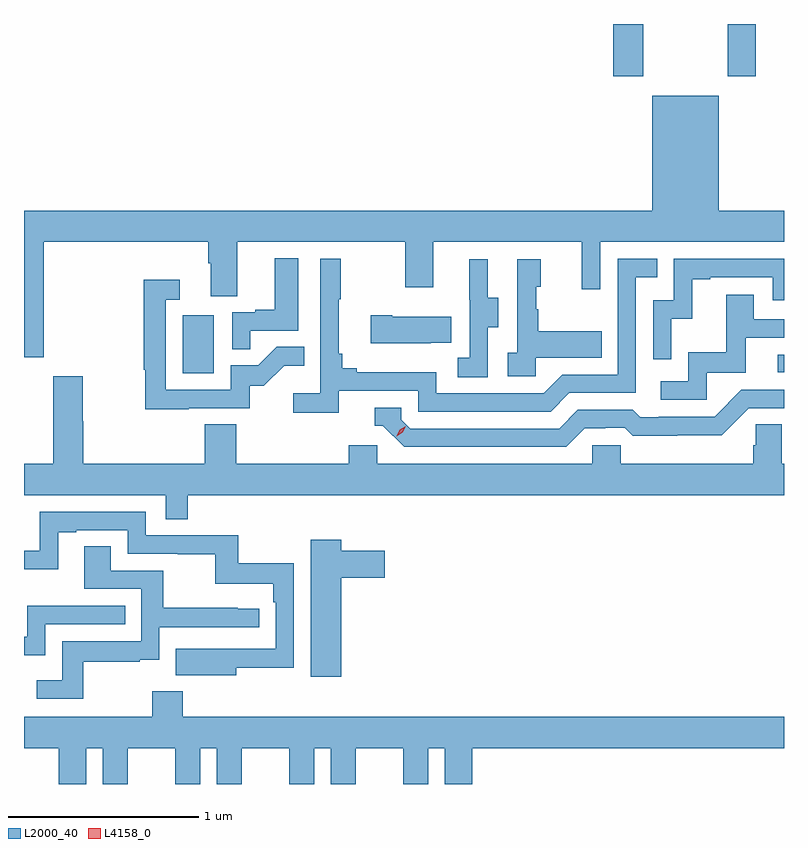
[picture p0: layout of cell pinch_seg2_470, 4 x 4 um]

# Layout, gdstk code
import gdstk
lib = gdstk.Library(unit=1e-6, precision=1e-09)
def R(c, l, rs):  # rectangles x0, y0, x1, y1
    for r in rs: c.add(gdstk.rectangle(r[:2], r[2:], *l))
def P(c, l, *ps):  # polygons
    for p in ps: c.add(gdstk.Polygon(p, *l))
L2000_40 = (2000, 40)
L4158_0 = (4158, 0)

pinch_seg2_470 = lib.new_cell('pinch_seg2_470')
R(pinch_seg2_470, L2000_40, [(940.988,594.996,941.152,595.303), (944.121,595.002,944.153,595.095), (943.253,596.559,943.413,596.835), (943.858,596.559,944.005,596.835)])
P(pinch_seg2_470, L2000_40, [(940.258,595.688),(941.123,595.688),(941.123,595.576),(941.135,595.576),(941.135,595.402),(941.275,595.402),(941.275,595.688),(942.16,595.688),(942.16,595.449),(942.307,595.449),(942.307,595.688),(943.088,595.688),(943.088,595.44),(943.185,595.44),(943.185,595.688),(944.153,595.688),(944.153,595.852),(943.81,595.852),(943.81,596.458),(943.46,596.458),(943.46,595.852),(940.153,595.852),(940.153,595.082),(940.258,595.082)],
  [(941.345,595.221),(941.596,595.221),(941.596,595.603),(941.474,595.603),(941.474,595.33),(941.371,595.33),(941.371,595.317),(941.25,595.317),(941.25,595.123),(941.345,595.123)],
  [(941.81,594.906),(942.228,594.906),(942.228,594.795),(942.925,594.795),(943.024,594.894),(943.374,594.894),(943.374,595.503),(943.487,595.503),(943.487,595.599),(943.278,595.599),(943.278,594.99),(942.987,594.99),(942.888,594.891),(942.324,594.891),(942.324,595.003),(941.905,595.003),(941.905,595.022),(941.828,595.022),(941.828,595.099),(941.809,595.099),(941.809,595.387),(941.821,595.387),(941.821,595.6),(941.712,595.6),(941.712,594.892),(941.571,594.892),(941.571,594.79),(941.81,594.79)],
  [(943.56,595.283),(943.67,595.283),(943.67,595.491),(943.765,595.491),(943.765,595.503),(944.094,595.503),(944.094,595.38),(944.153,595.38),(944.153,595.599),(943.572,595.599),(943.572,595.38),(943.464,595.38),(943.464,595.071),(943.56,595.071)],
  [(942.846,595.079),(943.193,595.079),(943.193,595.219),(942.859,595.219),(942.859,595.334),(942.849,595.334),(942.849,595.452),(942.874,595.452),(942.874,595.597),(942.75,595.597),(942.75,595.106),(942.699,595.106),(942.699,594.981),(942.846,594.981)],
  [(942.594,595.24),(942.649,595.24),(942.649,595.395),(942.595,595.395),(942.595,595.597),(942.497,595.597),(942.497,595.383),(942.498,595.383),(942.498,595.079),(942.435,595.079),(942.435,594.976),(942.594,594.976)],
  [(941.021,594.813),(941.34,594.813),(941.34,594.93),(941.416,594.93),(941.523,595.037),(941.627,595.037),(941.627,595.136),(941.484,595.136),(941.386,595.038),(941.241,595.038),(941.241,594.909),(940.899,594.909),(940.899,595.383),(940.972,595.383),(940.972,595.489),(940.783,595.489),(940.783,595.016),(940.791,595.016),(940.791,594.808),(941.021,594.808)],
  [(943.746,594.999),(943.951,594.999),(943.951,595.185),(944.153,595.185),(944.153,595.281),(943.993,595.281),(943.993,595.411),(943.849,595.411),(943.849,595.108),(943.65,595.108),(943.65,594.954),(943.503,594.954),(943.503,594.858),(943.746,594.858)],
  [(942.293,595.157),(942.401,595.157),(942.401,595.294),(942.091,595.294),(942.091,595.302),(941.979,595.302),(941.979,595.154),(942.293,595.154)],
  [(941.015,594.356),(944.153,594.356),(944.153,594.52),(944.142,594.52),(944.142,594.728),(944.005,594.728),(944.005,594.618),(943.991,594.618),(943.991,594.52),(943.293,594.52),(943.293,594.618),(943.143,594.618),(943.143,594.52),(942.012,594.52),(942.012,594.618),(941.861,594.618),(941.861,594.52),(941.27,594.52),(941.27,594.728),(941.105,594.728),(941.105,594.52),(940.466,594.52),(940.466,594.743),(940.461,594.743),(940.461,594.982),(940.306,594.982),(940.306,594.52),(940.153,594.52),(940.153,594.356),(940.899,594.356),(940.899,594.229),(941.015,594.229)],
  [(943.105,594.708),(943.212,594.708),(943.212,594.711),(943.315,594.711),(943.357,594.669),(943.59,594.669),(943.59,594.671),(943.826,594.671),(943.968,594.813),(944.153,594.813),(944.153,594.909),(943.929,594.909),(943.788,594.768),(943.495,594.768),(943.495,594.765),(943.396,594.765),(943.357,594.804),(943.068,594.804),(942.969,594.705),(942.186,594.705),(942.138,594.753),(942.138,594.816),(941.999,594.816),(941.999,594.72),(942.042,594.72),(942.153,594.609),(943.006,594.609)],
  [(941.269,593.446),(941.574,593.446),(941.574,593.998),(941.281,593.998),(941.281,594.144),(940.794,594.144),(940.794,594.267),(940.236,594.267),(940.236,594.063),(940.153,594.063),(940.153,593.966),(940.333,593.966),(940.333,594.159),(940.429,594.159),(940.429,594.171),(940.698,594.171),(940.698,594.048),(940.963,594.048),(940.963,594.043),(941.16,594.043),(941.16,593.888),(941.465,593.888),(941.465,593.792),(941.478,593.792),(941.478,593.547),(941.165,593.547),(941.165,593.548),(940.951,593.548),(940.951,593.408),(941.269,593.408)],
  [(941.824,593.921),(942.052,593.921),(942.052,594.063),(941.824,594.063),(941.824,594.121),(941.663,594.121),(941.663,593.4),(941.824,593.4)],
  [(940.465,593.478),(940.763,593.478),(940.763,593.489),(940.866,593.489),(940.866,593.661),(941.392,593.661),(941.392,593.757),(941.279,593.757),(941.279,593.762),(940.886,593.762),(940.886,593.958),(940.609,593.958),(940.609,594.086),(940.469,594.086),(940.469,593.862),(940.77,593.862),(940.77,593.586),(940.354,593.586),(940.354,593.38),(940.219,593.38),(940.219,593.283),(940.465,593.283)],
  [(940.266,593.676),(940.685,593.676),(940.685,593.772),(940.17,593.772),(940.17,593.611),(940.153,593.611),(940.153,593.513),(940.266,593.513)],
  [(940.48,593.024),(940.568,593.024),(940.568,592.835),(940.699,592.835),(940.699,593.024),(940.949,593.024),(940.949,592.835),(941.08,592.835),(941.08,593.024),(941.168,593.024),(941.168,592.835),(941.299,592.835),(941.299,593.024),(941.549,593.024),(941.549,592.835),(941.68,592.835),(941.68,593.024),(941.768,593.024),(941.768,592.835),(941.899,592.835),(941.899,593.024),(942.149,593.024),(942.149,592.835),(942.28,592.835),(942.28,593.024),(942.368,593.024),(942.368,592.835),(942.512,592.835),(942.512,593.024),(944.153,593.024),(944.153,593.188),(940.988,593.188),(940.988,593.323),(940.828,593.323),(940.828,593.188),(940.153,593.188),(940.153,593.024),(940.337,593.024),(940.337,592.835),(940.48,592.835)])
P(pinch_seg2_470, L4158_0, [(942.116,594.666),(942.116,594.667),(942.131,594.699),(942.162,594.719),(942.162,594.719),(942.162,594.719),(942.146,594.686),(942.116,594.666)])

lib.write_gds('pinch_seg2_470.gds')
